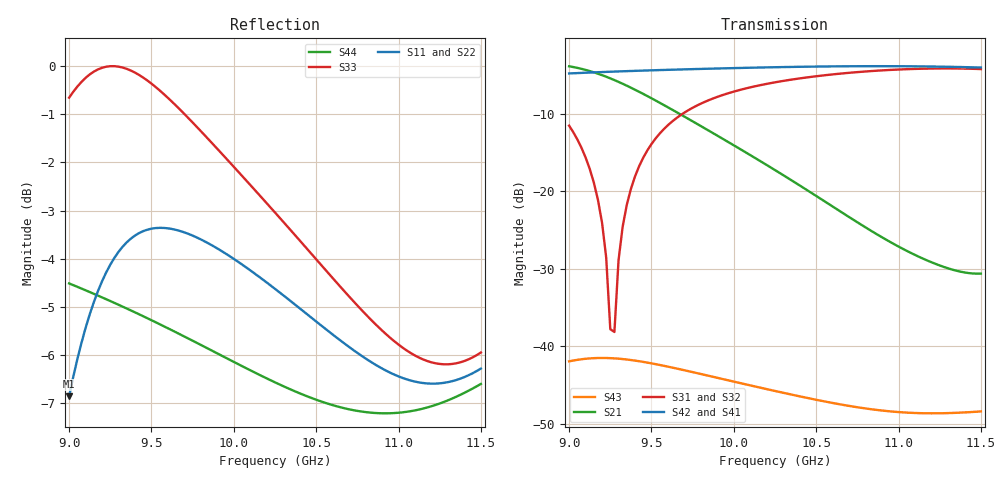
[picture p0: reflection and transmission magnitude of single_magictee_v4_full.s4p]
! Generated from PyAEDT SolutionData; AEDT ExportNetworkData workaround
# GHz S MA R 50
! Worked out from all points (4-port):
!   101 points, 9 GHz to 11.5 GHz, reference 50 ohm
!   strongest paths, dB at 9 GHz, 9.625 GHz, 10.25 GHz, 10.88 GHz, 11.5 GHz:
!     S42: -4.8, -4.3, -4.0, -3.9, -4.1
!     S41: -5.0, -4.6, -4.2, -4.0, -4.1
!     S31: -11.6, -11.0, -6.0, -4.5, -4.3
!     S32: -11.5, -11.1, -6.0, -4.5, -4.3
!     S21: -3.9, -9.5, -17.3, -25.6, -30.6
!     S43: -41.9, -42.7, -45.7, -48.2, -48.4
!   lowest |S11| = -6.9 dB at 9 GHz (marker M1), VSWR 2.66, Z = 27.9 + j31 ohm
!   |S11| at or under -10 dB: nowhere
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9  0.4539 103.7  0.6378 167.1  0.2643 -98.0  0.5633 40.9
   0.6378 167.1  0.4405 103.1  0.265 -96.5  0.5735 -137.6
   0.2643 -98.0  0.265 -96.5  0.9273 -156.0  0.008012 -43.1
   0.5633 40.9  0.5735 -137.6  0.008012 -43.1  0.5947 -126.1
9.275  0.6323 47.6  0.5197 106.1  0.01238 26.3  0.5744 10.9
       0.5197 106.1  0.6181 47.3  0.0112 -7.9  0.5896 -168.3
       0.01238 26.3  0.0112 -7.9  0.9998 126.9  0.008374 -112.7
       0.5744 10.9  0.5896 -168.3  0.008374 -112.7  0.5677 -153.5
9.725  0.6695 -30.0  0.2919 19.0  0.333 -92.5  0.5964 -37.4
       0.2919 19.0  0.6576 -30.2  0.3313 -93.5  0.6104 142.6
       0.333 -92.5  0.3313 -93.5  0.8828 9.6  0.006924 146.4
       0.5964 -37.4  0.6104 142.6  0.006924 146.4  0.5212 160.3
10.1  0.6136 -82.3  0.1708 -45.5  0.4666 -166.4  0.6137 -77.4
      0.1708 -45.5  0.6042 -82.4  0.4647 -167.0  0.6244 102.4
      0.4666 -166.4  0.4647 -167.0  0.7526 -78.8  0.005608 74.5
      0.6137 -77.4  0.6244 102.4  0.005608 74.5  0.4832 119.5
10.475  0.5473 -127.2  0.09691 -110.3  0.546 125.3  0.6269 -117.2
        0.09691 -110.3  0.5405 -127.2  0.5438 124.8  0.6346 62.4
        0.546 125.3  0.5438 124.8  0.6373 -165.2  0.004588 10.0
        0.6269 -117.2  0.6346 62.4  0.004588 10.0  0.452 76.0
10.925  0.4827 -172.8  0.0487 166.0  0.6023 46.2  0.6339 -165.0
        0.0487 166.0  0.4793 -172.6  0.5998 45.8  0.6388 14.7
        0.6023 46.2  0.5998 45.8  0.5267 86.6  0.003837 -59.0
        0.6339 -165.0  0.6388 14.7  0.003837 -59.0  0.436 20.1
11.5  0.4852 138.1  0.02946 86.5  0.612 -53.8  0.6239 134.2
      0.02946 86.5  0.4856 138.4  0.6093 -54.1  0.6261 -46.1
      0.612 -53.8  0.6093 -54.1  0.5042 -63.5  0.003811 -143.7
      0.6239 134.2  0.6261 -46.1  0.003811 -143.7  0.4677 -53.0
